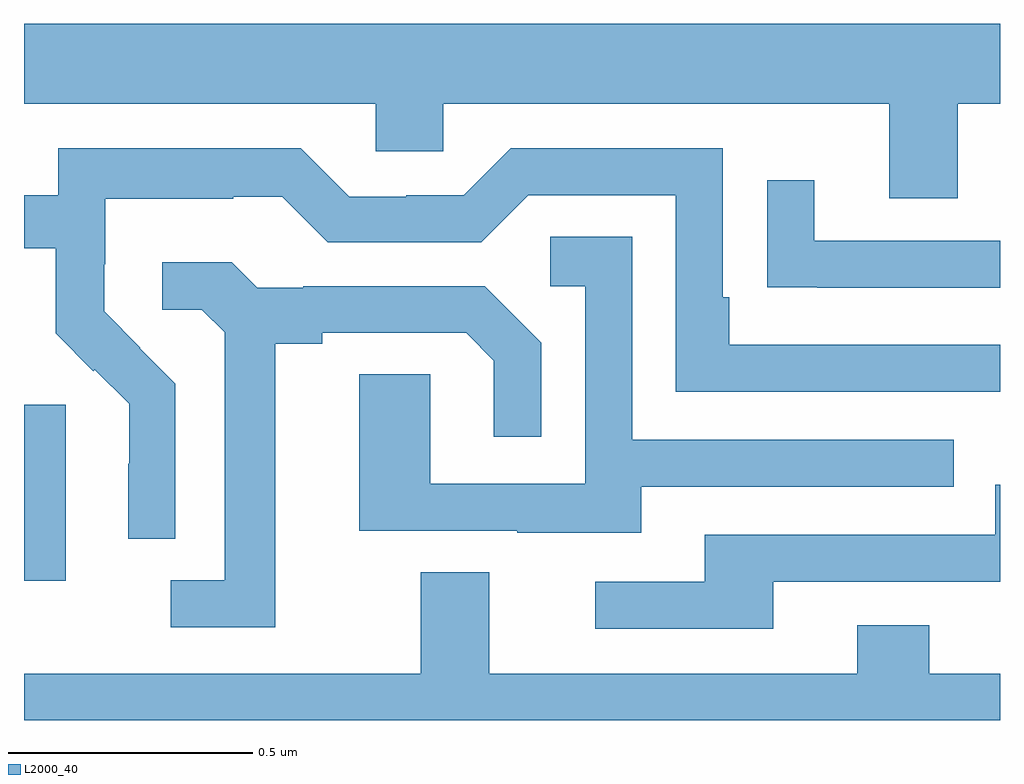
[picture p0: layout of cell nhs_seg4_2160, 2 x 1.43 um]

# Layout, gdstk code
import gdstk
lib = gdstk.Library(unit=1e-6, precision=1e-09)
def R(c, l, rs):  # rectangles x0, y0, x1, y1
    for r in rs: c.add(gdstk.rectangle(r[:2], r[2:], *l))
def P(c, l, *ps):  # polygons
    for p in ps: c.add(gdstk.Polygon(p, *l))
L2000_40 = (2000, 40)

nhs_seg4_2160 = lib.new_cell('nhs_seg4_2160')
R(nhs_seg4_2160, L2000_40, [(137,785.186,137.086,785.547)])
P(nhs_seg4_2160, L2000_40, [(138.913,786.164),(139,786.164),(139,786.328),(137,786.328),(137,786.164),(137.721,786.164),(137.721,786.066),(137.859,786.066),(137.859,786.164),(138.773,786.164),(138.773,785.97),(138.913,785.97)],
  [(137.31,785.59),(137.237,785.663),(137.238,785.664),(137.164,785.738),(137.164,785.835),(137.166,785.835),(137.166,785.969),(137.429,785.969),(137.429,785.973),(137.529,785.973),(137.622,785.88),(137.937,785.88),(138.033,785.976),(138.336,785.976),(138.336,785.574),(139,785.574),(139,785.67),(138.445,785.67),(138.445,785.767),(138.432,785.767),(138.432,786.072),(137.997,786.072),(137.901,785.976),(137.783,785.976),(137.783,785.973),(137.667,785.973),(137.567,786.073),(137.07,786.073),(137.07,785.976),(137,785.976),(137,785.868),(137.065,785.868),(137.065,785.693),(137.142,785.616),(137.145,785.619),(137.216,785.549),(137.216,785.426),(137.214,785.426),(137.214,785.272),(137.31,785.272)],
  [(139,785.883),(138.619,785.883),(138.619,786.007),(138.523,786.007),(138.523,785.788),(138.625,785.788),(138.625,785.787),(139,785.787)],
  [(138.265,785.379),(138.905,785.379),(138.905,785.475),(138.246,785.475),(138.246,785.891),(138.078,785.891),(138.078,785.79),(138.15,785.79),(138.15,785.385),(137.832,785.385),(137.832,785.609),(137.687,785.609),(137.687,785.289),(138.011,785.289),(138.011,785.285),(138.265,785.285)],
  [(137.515,785.672),(137.611,785.672),(137.611,785.694),(137.906,785.694),(137.963,785.637),(137.963,785.481),(138.06,785.481),(138.06,785.674),(137.944,785.79),(137.572,785.79),(137.572,785.787),(137.478,785.787),(137.426,785.839),(137.283,785.839),(137.283,785.742),(137.364,785.742),(137.411,785.695),(137.411,785.187),(137.301,785.187),(137.301,785.091),(137.515,785.091)],
  [(138.535,785.184),(139,785.184),(139,785.383),(138.99,785.383),(138.99,785.28),(138.395,785.28),(138.395,785.184),(138.171,785.184),(138.171,785.088),(138.535,785.088)],
  [(139,784.996),(138.855,784.996),(138.855,785.095),(138.707,785.095),(138.707,784.996),(137.953,784.996),(137.953,785.204),(137.813,785.204),(137.813,784.996),(137,784.996),(137,784.9),(139,784.9)])

lib.write_gds('nhs_seg4_2160.gds')
